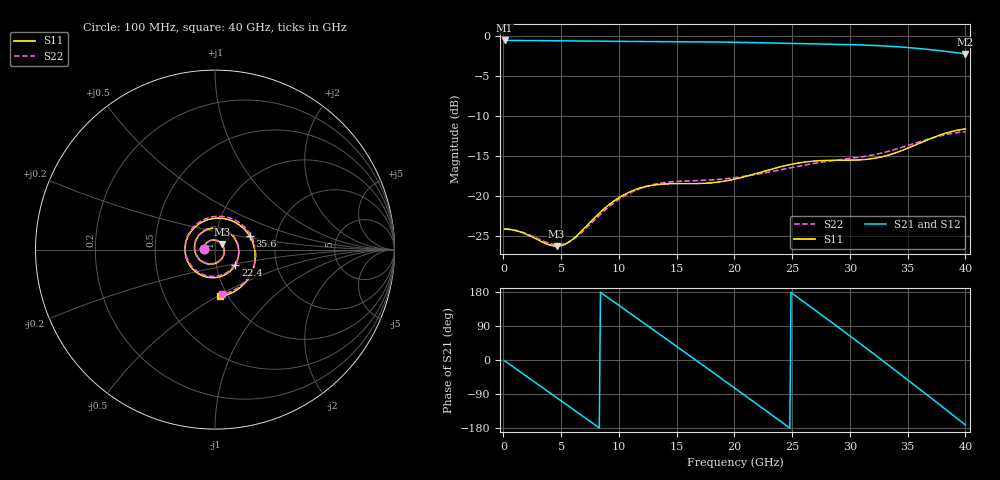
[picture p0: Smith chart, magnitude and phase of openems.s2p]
! B_s8_L1L8_d200: L1→L8, no stub, drill Ø0.2
! stackup: 8-layer 1.6 mm FR-4 (generic)
! ports: 1, 2
! openEMS 0.37.0, staircase, fine mesh (dfine 0.0175 mm), 1181460 cells
# Hz S RI R 50
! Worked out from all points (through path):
!   400 points, 100 MHz to 40 GHz, reference 50 ohm
!   highest |S21| = -0.56 dB at 100 MHz (marker M1); lowest = -2.2 dB at 40 GHz (marker M2)
!   group delay of S21, straight-line fit = 61.5 ps
!   lowest |S11| = -26.3 dB at 4.6 GHz (marker M3), VSWR 1.10, Z = 54 + j3.09 ohm
!   |S11| at or under -10 dB: start of sweep to end of sweep
!   |S22| runs from -26.1 to -12.0 dB; largest |S21 - S12| = 0.0039
!   S11 on the Smith chart (normalised r, x): 100 MHz: 0.88, +0.01; 22.4 GHz: 1.24, -0.21; 35.6 GHz: 1.46, +0.23; 40 GHz: 0.92, -0.52
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1e8  -0.062 0.00289  0.937 -0.0354  0.937 -0.0354  -0.0619 0.00292
2.6e9  -0.0158 0.0526  0.5209 -0.7781  0.5208 -0.778  -0.0158 0.0533
4.6e9  0.0392 0.0286  -0.1524 -0.9213  -0.1523 -0.9213  0.0393 0.0301
6.8e9  0.0421 -0.0437  -0.7789 -0.5086  -0.779 -0.5087  0.0425 -0.0414
8.2e9  0.00222 -0.0768  -0.9268 -0.0478  -0.927 -0.0478  0.00281 -0.0744
9.6e9  -0.0527 -0.077  -0.8234 0.4239  -0.8236 0.4242  -0.052 -0.0744
1.16e10  -0.1089 -0.0196  -0.3095 0.8708  -0.3092 0.8711  -0.1085 -0.0167
1.34e10  -0.1046 0.0543  0.3069 0.8704  0.3073 0.8702  -0.1048 0.0576
1.52e10  -0.0536 0.1067  0.7863 0.4807  0.7862 0.4804  -0.0541 0.1109
1.67e10  0.00612 0.1193  0.9197 -0.0206  0.9194 -0.0206  0.00533 0.1245
1.83e10  0.0702 0.099  0.7393 -0.5432  0.7394 -0.5428  0.0695 0.1054
2.01e10  0.1228 0.0353  0.2236 -0.8856  0.2243 -0.8856  0.1229 0.043
2.24e10  0.1134 -0.0847  -0.5395 -0.7287  -0.5395 -0.73  0.1155 -0.0763
2.46e10  0.00313 -0.1559  -0.8967 -0.0753  -0.8984 -0.0755  0.00628 -0.1486
2.67e10  -0.1229 -0.1097  -0.6645 0.5978  -0.665 0.5995  -0.1205 -0.1036
2.82e10  -0.1656 -0.0209  -0.2202 0.8619  -0.2192 0.8632  -0.1644 -0.0149
2.97e10  -0.1494 0.0749  0.2975 0.8331  0.2988 0.8329  -0.1496 0.0815
3.17e10  -0.0559 0.1607  0.7961 0.3633  0.796 0.3626  -0.0577 0.1692
3.34e10  0.0571 0.1713  0.8339 -0.2216  0.8336 -0.2211  0.0548 0.1826
3.56e10  0.1931 0.0754  0.3354 -0.77  0.3372 -0.7698  0.1929 0.0909
3.76e10  0.2135 -0.104  -0.3284 -0.7427  -0.3275 -0.7455  0.2184 -0.0874
4e10  0.0303 -0.2607  -0.7642 -0.1149  -0.768 -0.1156  0.0388 -0.2491
